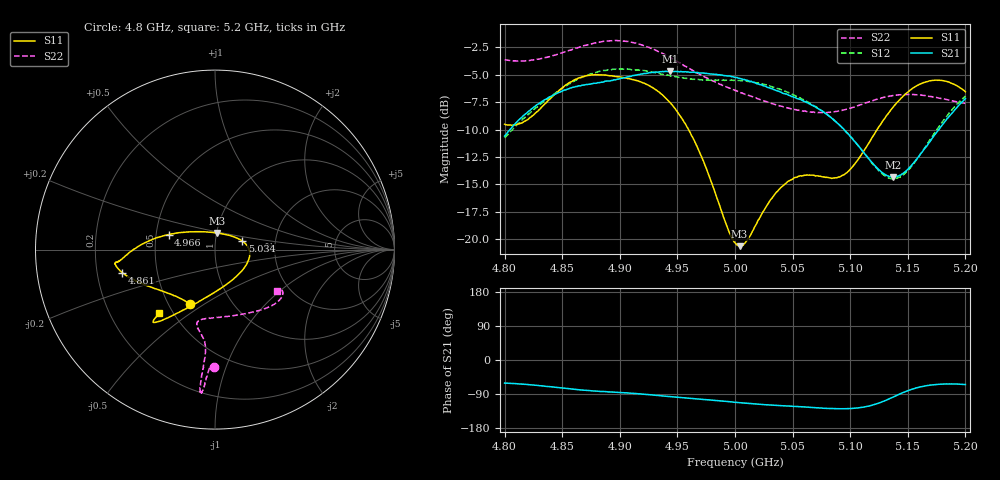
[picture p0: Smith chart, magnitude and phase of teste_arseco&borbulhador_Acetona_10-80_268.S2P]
! Network Analyzer HP8722D
! Hewlett-Packard
! Data name: Linha & Wilkinson
! Saver's name: Rodrigo Anjos
! Comments: Teste da utilização de aquisição
! continua pelo VNA HP8722D
! Time and date: 17/4/2025 16:35
!  Frequency  S11  S21  S12  S22
# HZ  S  MA R 50
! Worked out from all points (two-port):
!   401 points, 4.8 GHz to 5.2 GHz, reference 50 ohm
!   highest |S21| = -4.69 dB at 4.944 GHz (marker M1); lowest = -14.3 dB at 5.137 GHz (marker M2)
!   |S21| within 3 dB of the highest: 4.829 GHz to 5.065 GHz (236.1 MHz wide, 4.77 % of centre); 5.195137 GHz to end of sweep
!   lowest |S11| = -20.6 dB at 5.004 GHz (marker M3), VSWR 1.21, Z = 50.2 + j9.37 ohm
!   |S11| at or under -10 dB: 4.96 GHz to 5.123 GHz (163.7 MHz wide, 3.25 % of centre)
!   |S22| runs from -8.5 to -1.9 dB; largest |S21 - S12| = 0.87
!   S11 on the Smith chart (normalised r, x): 4.8 GHz: 0.64, -0.44; 4.861 GHz: 0.31, -0.11; 4.966 GHz: 0.58, +0.11; 5.034 GHz: 1.35, +0.13; 5.2 GHz: 0.42, -0.38
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4.8e9  0.3344 -114.1  0.2954 -60.9  0.2894 -175.3  0.6569 -90.3
4.819e9  0.3488 -134.2  0.375 -64.5  0.3641 -174.1  0.6515 -91.9
4.861e9  0.5337 -166.1  0.494 -77.5  0.528 -177.4  0.7384 -94.2
4.867e9  0.5486 -168.5  0.5026 -79.3  0.5457 -178.5  0.7564 -94.4
4.899e9  0.5498 -172.9  0.5364 -85.6  0.5964 175.0  0.802 -95.7
4.934e9  0.4689 -178.8  0.578 -94.0  0.57 171.4  0.7136 -96.0
4.944e9  0.4176 176.7  0.5825 -96.7  0.5544 171.7  0.6715 -95.8
4.966e9  0.2716 162.1  0.5731 -102.4  0.5332 173.4  0.5761 -95.2
5e9  0.0965 97.7  0.5457 -111.6  0.5302 175.9  0.4764 -99.3
5.004e9  0.09307 83.2  0.541 -112.5  0.5289 175.7  0.4671 -100.2
5.011e9  0.09972 59.2  0.5293 -114.5  0.5233 175.5  0.4542 -101.8
5.034e9  0.1589 17.8  0.4799 -119.6  0.4924 174.5  0.4123 -103.3
5.05e9  0.188 1.7  0.4463 -122.2  0.4563 173.8  0.3916 -99.3
5.067e9  0.1961 -16.5  0.4076 -125.2  0.412 173.6  0.3792 -90.2
5.086e9  0.1903 -46.7  0.3497 -128.5  0.3479 173.6  0.3808 -75.7
5.097e9  0.2007 -69.2  0.306 -128.5  0.3074 174.7  0.3915 -66.8
5.134e9  0.38 -117.7  0.1933 -102.3  0.1898 -155.4  0.4484 -43.1
5.137e9  0.398 -119.5  0.192 -98.3  0.1887 -150.5  0.4515 -41.7
5.15e9  0.4681 -125.2  0.2083 -81.3  0.2057 -130.8  0.4566 -36.9
5.168e9  0.5251 -129.4  0.2734 -67.2  0.2773 -113.3  0.4476 -32.6
5.184e9  0.5229 -130.9  0.3538 -63.1  0.3643 -107.5  0.4329 -31.3
5.2e9  0.4699 -131.2  0.4371 -64.8  0.4491 -106.9  0.4158 -33.7
